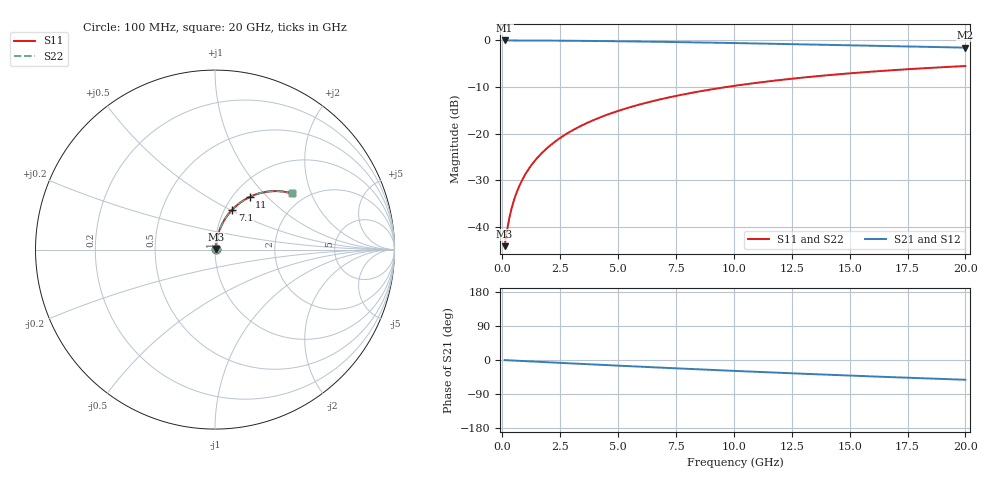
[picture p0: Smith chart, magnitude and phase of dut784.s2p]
! Touchstone file exported from HFSS 2026.1.0
!  File:  C:/ffzhzh/LocalFiles/Ansys_Project_Files/temp_train_TMRDL_784_1783155830_22436.aedt
!  Generated:  05:05:09 PM Jul  4, 2026
!  Design:  TMRDL
!  Project:  temp_train_TMRDL_784_1783155830_22436
! Variables:
!  h_bsmrdl = 2um
!  h_ox = 20um
!  h_rdl = 5um
!  h_sub = 80um
!  h_tmrdl = 3.99um
!  h_tsv = 80um
!  h_via = 3um
!  l_bsmrdl = 300um
!  l_sub = 1152.36um
!  l_tmrdl = 752.36um
!  m_sub = 200um
!  pitch = 45.85um
!  r_tsv = 6um
!  s_tmrdl = 10um
!  w_bsmrdl = 18um
!  w_sub = 500um
!  w_tmrdl = 13.55um
!  x_tsv_center1 = 759.135um
!  x_tsv_center2 = 1077.135um
!  x_tsv_center3 = 1843.045um
!  x_tsv_center4 = 2161.045um
!  x_tsv_center5 = 2926.955um
!  x_tsv_center6 = 3244.955um
# GHz S MA R 50.000000
! Terminal data exported
! Port[1] = TM_RDL1_1_T1
! Port[2] = TM_RDL1_1_T2
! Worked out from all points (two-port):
!   200 points, 100 MHz to 20 GHz, reference 50 ohm
!   highest |S21| = -0.04 dB at 100 MHz (marker M1); lowest = -1.6 dB at 20 GHz (marker M2)
!   |S21| within 3 dB of the highest: start of sweep to end of sweep
!   lowest |S11| = -44.1 dB at 100 MHz (marker M3), VSWR 1.01, Z = 50.5 + j0.38 ohm
!   |S11| at or under -10 dB: start of sweep to 9.691 GHz
!   |S22| runs from -44.1 to -5.5 dB; largest |S21 - S12| = 2e-15
!   S11 on the Smith chart (normalised r, x): 100 MHz: 1.01, +0.01; 7.1 GHz: 1.09, +0.51; 11 GHz: 1.19, +0.79; 20 GHz: 1.69, +1.47
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0.1  0.006249 37.1  0.995 -0.3  0.995 -0.3  0.006249 37.1
! Gamma 0 0 0 0
! Port Impedance 50 0 50 0
0.2  0.009086 55.5  0.9949 -0.6  0.9949 -0.6  0.009086 55.5
0.3  0.01238 64.3  0.9947 -0.9  0.9947 -0.9  0.01238 64.3
0.4  0.0158 69.1  0.9946 -1.2  0.9946 -1.2  0.0158 69.1
0.5  0.01928 72.2  0.9944 -1.5  0.9944 -1.5  0.01928 72.2
0.6  0.02277 74.2  0.9943 -1.8  0.9943 -1.8  0.02277 74.2
0.8  0.02982 76.6  0.9939 -2.5  0.9939 -2.5  0.02982 76.6
1.1  0.04044 78.4  0.9934 -3.4  0.9934 -3.4  0.04044 78.4
1.5  0.05466 79.1  0.9925 -4.6  0.9925 -4.6  0.05465 79.1
2.1  0.07592 78.8  0.9908 -6.4  0.9908 -6.4  0.07592 78.8
2.7  0.09701 77.8  0.9886 -8.2  0.9886 -8.2  0.09701 77.8
3.5  0.1247 76.1  0.9849 -10.5  0.9849 -10.5  0.1247 76.1
4.2  0.1485 74.3  0.981 -12.6  0.981 -12.6  0.1485 74.4
5  0.1751 72.3  0.976 -14.9  0.976 -14.9  0.1751 72.3
6.8  0.2324 67.5  0.9626 -20.0  0.9626 -20.0  0.2324 67.5
7.1  0.2416 66.7  0.9601 -20.9  0.9601 -20.9  0.2416 66.7
8.5  0.283 63.0  0.9478 -24.7  0.9478 -24.7  0.283 63.0
10.1  0.3272 58.9  0.9327 -29.0  0.9327 -29.0  0.3272 58.9
11  0.3507 56.6  0.9238 -31.3  0.9238 -31.3  0.3506 56.7
13.4  0.4081 50.8  0.8994 -37.3  0.8994 -37.3  0.4081 50.9
16.7  0.4753 43.3  0.8656 -45.0  0.8656 -45.0  0.4753 43.4
20  0.5298 36.3  0.8338 -52.2  0.8338 -52.2  0.5297 36.4
